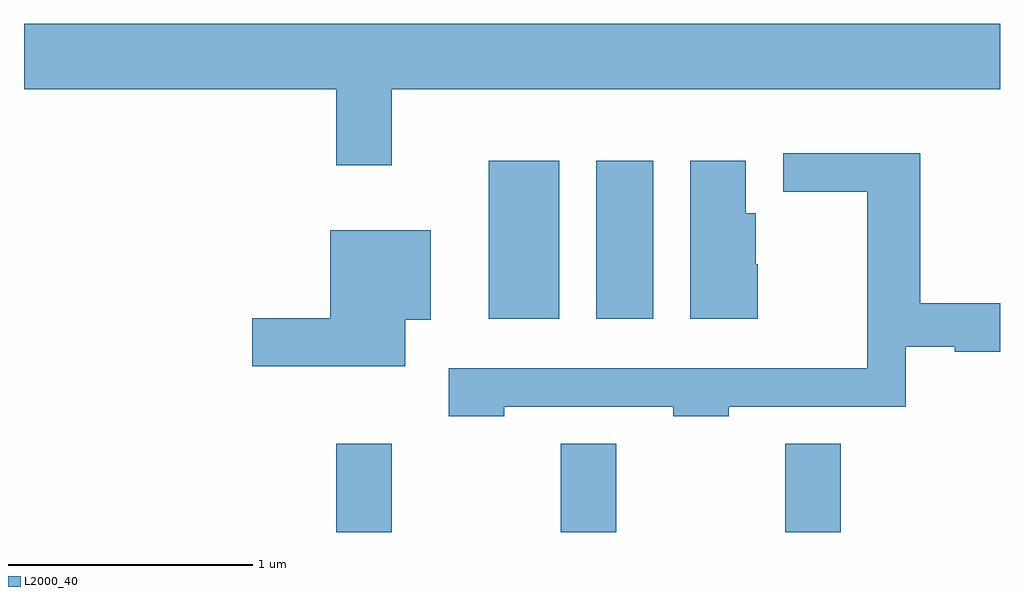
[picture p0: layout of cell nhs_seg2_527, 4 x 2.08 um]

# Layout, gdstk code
import gdstk
lib = gdstk.Library(unit=1e-6, precision=1e-09)
def R(c, l, rs):  # rectangles x0, y0, x1, y1
    for r in rs: c.add(gdstk.rectangle(r[:2], r[2:], *l))
def A(c, l, x, y, w, h, nx, ny, dx, dy):  # array of equal rectangles
    R(c, l, [(x+i*dx, y+j*dy, x+i*dx+w, y+j*dy+h) for i in range(nx) for j in range(ny)])
def P(c, l, *ps):  # polygons
    for p in ps: c.add(gdstk.Polygon(p, *l))
L2000_40 = (2000, 40)

nhs_seg2_527 = lib.new_cell('nhs_seg2_527')
A(nhs_seg2_527, L2000_40, 200.891, 1079.802, 0.228, 0.362, 3, 1, 0.92, 0)
R(nhs_seg2_527, L2000_40, [(201.516,1080.676,201.804,1081.324), (201.956,1080.676,202.189,1081.324)])
P(nhs_seg2_527, L2000_40, [(201.119,1081.616),(203.611,1081.616),(203.611,1081.884),(199.611,1081.884),(199.611,1081.616),(200.891,1081.616),(200.891,1081.306),(201.119,1081.306)],
  [(201.579,1080.316),(202.271,1080.316),(202.271,1080.276),(202.499,1080.276),(202.499,1080.316),(203.224,1080.316),(203.224,1080.561),(203.426,1080.561),(203.426,1080.541),(203.611,1080.541),(203.611,1080.739),(203.284,1080.739),(203.284,1081.354),(202.723,1081.354),(202.723,1081.196),(203.066,1081.196),(203.066,1080.474),(201.351,1080.474),(201.351,1080.276),(201.579,1080.276)],
  [(202.619,1080.9),(202.609,1080.9),(202.609,1081.109),(202.569,1081.109),(202.569,1081.324),(202.341,1081.324),(202.341,1080.676),(202.619,1080.676)],
  [(201.174,1080.671),(201.279,1080.671),(201.279,1081.039),(200.866,1081.039),(200.866,1080.679),(200.546,1080.679),(200.546,1080.481),(201.174,1080.481)])

lib.write_gds('nhs_seg2_527.gds')
